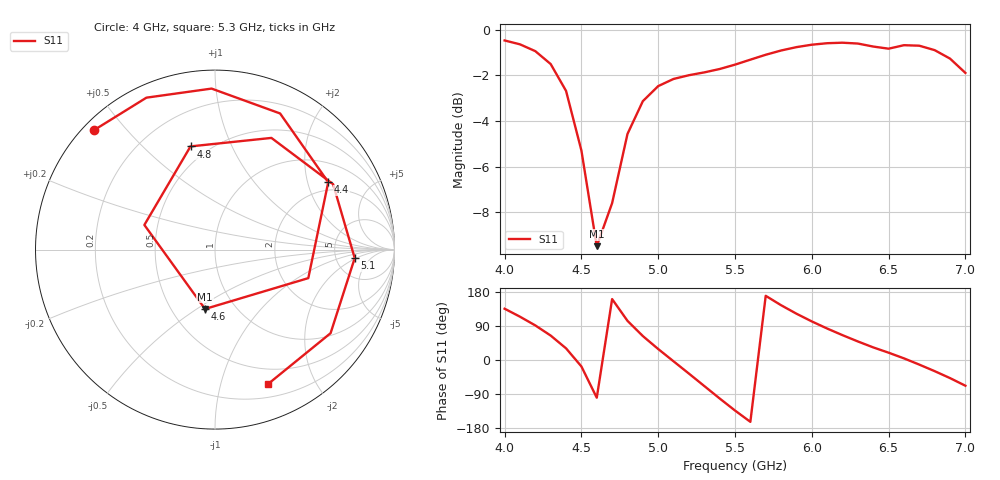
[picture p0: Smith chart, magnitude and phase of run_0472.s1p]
! Touchstone file exported from HFSS 2024.2.0
!  File:  C:/Users/wsak9/Desktop/Sim Fast/Widenad Patch/WP_AI_V1_sweep.aedt
!  Generated:  11:38:54 AM Oct 14, 2026
!  Design:  A1_model
!  Project:  WP_AI_V1_sweep
!  Setup:  Setup1
!  Solution:  Sweep
! Variables:
!  Air_gap = 3.6mm
!  Curve_Amp1 = 2.61
!  Curve_len1 = 1
!  Curve_pos = 12.185mm
!  Extra = 1.19mm
!  H_sub = 0.79mm
!  L_Patch = 20.37mm
!  L_Patch1 = 11.12mm
!  Sx = 0.3mm
!  Sy = 2.57mm
!  WS = 1.45mm
!  W_Patch = 21.58mm
!  W_Patch1 = 9.93mm
!Data is not renormalized
# GHz S MA
! Terminal data exported
! Port[1] = 1
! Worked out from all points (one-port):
!   31 points, 4 GHz to 7 GHz, reference per port
!   lowest |S11| = -9.5 dB at 4.6 GHz (marker M1), VSWR 2.01
!   |S11| at or under -10 dB: nowhere
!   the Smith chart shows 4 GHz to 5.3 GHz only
!   S11 on the Smith chart (normalised r, x): 4 GHz: 0.03, +0.41; 4.4 GHz: 1.66, +2.71; 4.6 GHz: 0.73, -0.54; 4.8 GHz: 0.40, +0.71; 5.1 GHz: 7.63, -1.85; 5.3 GHz: 0.33, -1.41
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4  0.9471 135.3
4.1  0.9287 114.3
4.2  0.8973 91.2
4.3  0.8408 64.4
4.4  0.7343 30.8
4.5  0.5436 -17.0
4.6  0.3355 -99.5
4.7  0.4168 160.8
4.8  0.591 103.3
4.9  0.6972 63.2
5  0.7523 29.0
5.1  0.7799 -3.5
5.2  0.7947 -35.9
5.3  0.8061 -68.7
5.4  0.82 -101.5
5.5  0.8382 -133.3
5.6  0.8596 -163.2
5.7  0.8811 169.4
5.8  0.9002 144.6
5.9  0.9157 122.2
6  0.927 101.8
6.1  0.934 83.1
6.3  0.9324 48.9
6.5  0.9085 19.3
6.7  0.9223 -12.2
6.8  0.9019 -29.4
6.9  0.8642 -47.8
7  0.804 -67.9
